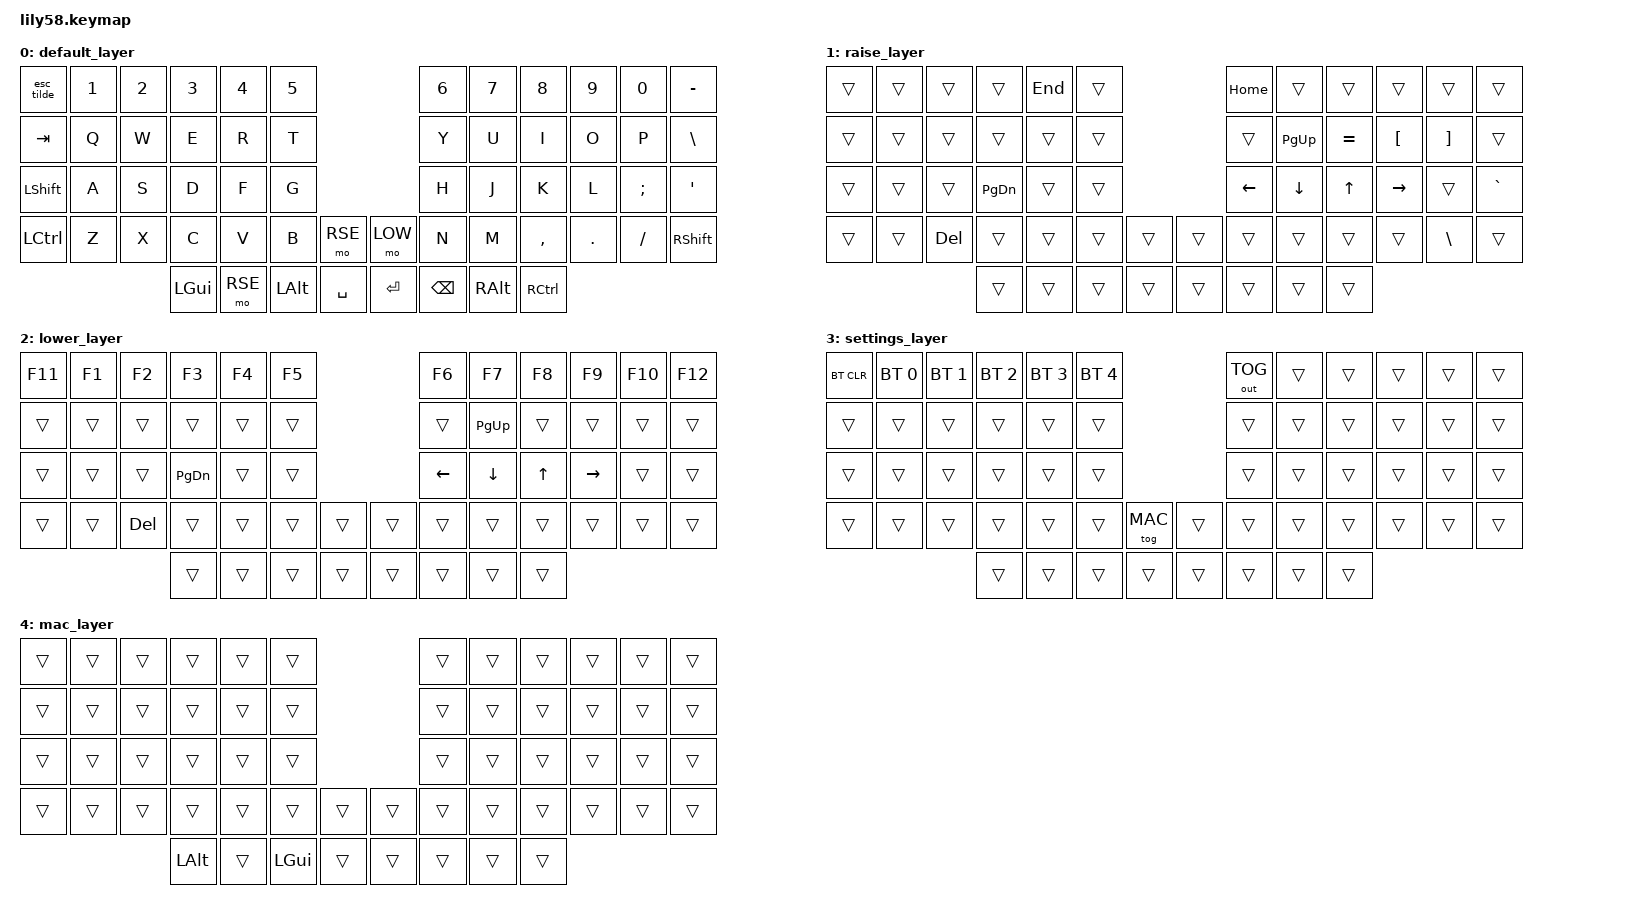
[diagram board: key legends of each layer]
#include <behaviors.dtsi>
#include <dt-bindings/zmk/keys.h>
#include <dt-bindings/zmk/bt.h>
#include <dt-bindings/zmk/ext_power.h>
#include <dt-bindings/zmk/outputs.h>

// layers
#define DEF 0
#define RSE 1
#define LOW 2
#define SET 3
#define MAC 4

/ { 
    behaviors {
        esc_tilde: esc_tilde {
            compatible = "zmk,behavior-mod-morph";
            label = "ESC_TILDE";
            #binding-cells = <0>;
            bindings = <&kp ESC>, <&kp TILDE>;
            mods = <(MOD_LSFT|MOD_RSFT)>;
        };
//        bspc_del: bspc_del {
//            compatible = "zmk,behavior-mod-morph";
//            label = "BSPC_DEL";
//            #binding-cells = <0>;
//            bindings = <&kp BSPC>, <&kp DEL>;
//            mods = <(MOD_LALT)>;
//        };
    };

    // if layer 1 and 2 are triggered, switch to layer 3
    conditional_layers {
        compatible = "zmk,conditional-layers";
        set_layer {
            if-layers = <1 2>;
            then-layer = <3>;
        };
    };

    keymap {
        compatible = "zmk,keymap";
        default_layer {

            bindings = <
&esc_tilde &kp N1 &kp N2 &kp N3   &kp N4    &kp N5                         &kp N6     &kp N7   &kp N8    &kp N9  &kp N0   &kp MINUS
&kp TAB    &kp Q  &kp W  &kp E    &kp R     &kp T                          &kp Y      &kp U    &kp I     &kp O   &kp P    &kp BSLH
&kp LSHFT  &kp A  &kp S  &kp D    &kp F     &kp G                          &kp H      &kp J    &kp K     &kp L   &kp SEMI &kp SQT
&kp LCTRL  &kp Z  &kp X  &kp C    &kp V     &kp B    &mo  RSE    &mo LOW   &kp N      &kp M    &kp COMMA &kp DOT &kp FSLH &kp RSHIFT
                         &kp LGUI &mo RSE   &kp LALT &kp  SPACE  &kp RET   &kp BSPC   &kp RALT &kp RCTRL
            >;
        };

        raise_layer {
            bindings = <
&trans  &trans  &trans  &trans    &kp END &trans                  &kp HOME   &trans    &trans     &trans    &trans    &trans
&trans  &trans  &trans  &trans    &trans  &trans                  &trans     &kp PG_UP &kp EQUAL  &kp LBKT  &kp RBKT  &trans
&trans  &trans  &trans  &kp PG_DN &trans  &trans                  &kp LEFT   &kp DOWN  &kp UP     &kp RIGHT &trans    &kp GRAVE
&trans  &trans  &kp DEL &trans    &trans  &trans  &trans  &trans  &trans     &trans    &trans     &trans    &kp BSLH  &trans
                        &trans    &trans  &trans  &trans  &trans  &trans     &trans    &trans     
            >;
        };

        lower_layer {
            bindings = <
&kp F11  &kp F1   &kp F2   &kp F3     &kp F4   &kp F5                    &kp F6    &kp F7     &kp F8   &kp F9     &kp F10   &kp F12
&trans   &trans   &trans   &trans     &trans   &trans                    &trans    &kp PG_UP  &trans   &trans     &trans    &trans
&trans   &trans   &trans   &kp PG_DN  &trans   &trans                    &kp LEFT  &kp DOWN   &kp UP   &kp RIGHT  &trans    &trans
&trans   &trans   &kp DEL  &trans     &trans   &trans  &trans   &trans   &trans    &trans     &trans   &trans     &trans    &trans
                           &trans     &trans   &trans  &trans   &trans   &trans    &trans     &trans
             >;
        };

        settings_layer {
            bindings = <
&bt BT_CLR  &bt BT_SEL 0  &bt BT_SEL 1  &bt BT_SEL 2 &bt BT_SEL 3 &bt BT_SEL 4                  &out OUT_TOG  &trans   &trans   &trans    &trans    &trans
&trans      &trans        &trans        &trans       &trans       &trans                        &trans    &trans   &trans   &trans    &trans    &trans
&trans      &trans        &trans        &trans       &trans       &trans                        &trans    &trans   &trans   &trans    &trans    &trans
&trans      &trans        &trans        &trans       &trans       &trans       &tog MAC &trans  &trans    &trans   &trans   &trans    &trans    &trans
                                        &trans       &trans       &trans       &trans   &trans  &trans    &trans   &trans
            >;
        };
        
        mac_layer {

            bindings = <
&trans  &trans  &trans  &trans   &trans  &trans                    &trans  &trans  &trans  &trans  &trans  &trans
&trans  &trans  &trans  &trans   &trans  &trans                    &trans  &trans  &trans  &trans  &trans  &trans
&trans  &trans  &trans  &trans   &trans  &trans                    &trans  &trans  &trans  &trans  &trans  &trans
&trans  &trans  &trans  &trans   &trans  &trans    &trans  &trans  &trans  &trans  &trans  &trans  &trans  &trans
                        &kp LALT &trans  &kp LGUI  &trans  &trans  &trans  &trans  &trans  
            >;
        };

    };
};
